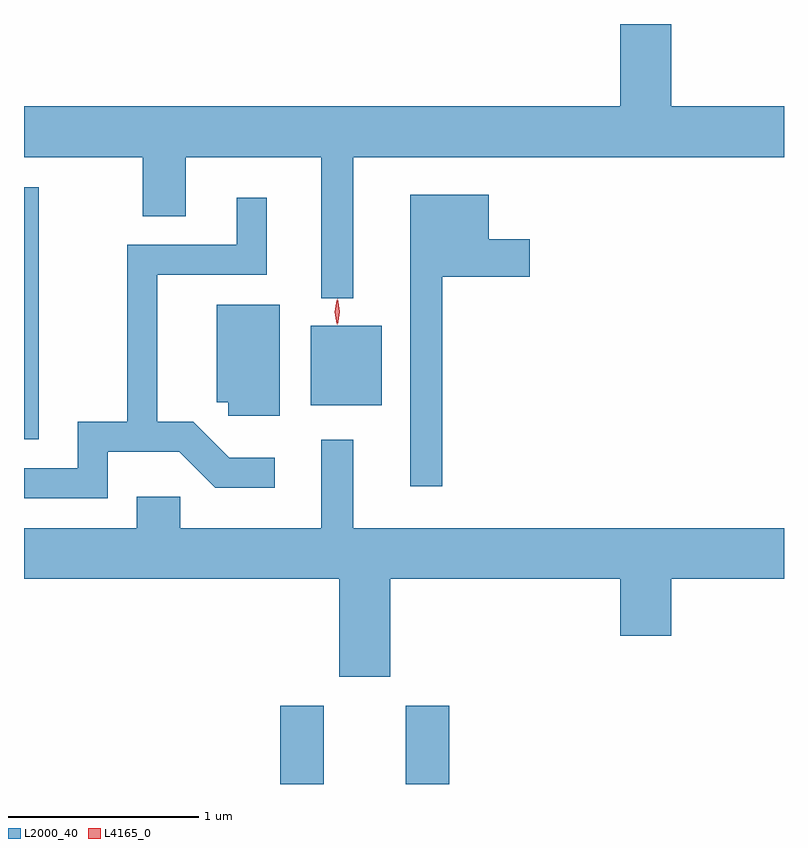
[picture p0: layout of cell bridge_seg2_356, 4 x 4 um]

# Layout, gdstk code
import gdstk
lib = gdstk.Library(unit=1e-6, precision=1e-09)
def R(c, l, rs):  # rectangles x0, y0, x1, y1
    for r in rs: c.add(gdstk.rectangle(r[:2], r[2:], *l))
def P(c, l, *ps):  # polygons
    for p in ps: c.add(gdstk.Polygon(p, *l))
L2000_40 = (2000, 40)
L4165_0 = (4165, 0)

bridge_seg2_356 = lib.new_cell('bridge_seg2_356')
R(bridge_seg2_356, L2000_40, [(433.066,1009.497,433.294,1009.909), (433.726,1009.497,433.954,1009.909), (431.717,1011.311,431.794,1012.639), (433.226,1011.491,433.599,1011.909)])
P(bridge_seg2_356, L2000_40, [(433.449,1012.796),(435.717,1012.796),(435.717,1013.064),(435.124,1013.064),(435.124,1013.497),(434.856,1013.497),(434.856,1013.064),(431.717,1013.064),(431.717,1012.796),(432.341,1012.796),(432.341,1012.486),(432.569,1012.486),(432.569,1012.796),(433.281,1012.796),(433.281,1012.053),(433.449,1012.053)],
  [(433.919,1012.166),(434.379,1012.166),(434.379,1012.364),(434.164,1012.364),(434.164,1012.599),(433.751,1012.599),(433.751,1011.063),(433.919,1011.063)],
  [(432.159,1011.246),(432.534,1011.246),(432.724,1011.056),(433.038,1011.056),(433.038,1011.214),(432.797,1011.214),(432.607,1011.404),(432.419,1011.404),(432.419,1012.176),(432.994,1012.176),(432.994,1012.583),(432.836,1012.583),(432.836,1012.334),(432.261,1012.334),(432.261,1011.404),(432.001,1011.404),(432.001,1011.159),(431.717,1011.159),(431.717,1011.001),(432.159,1011.001)],
  [(433.064,1012.019),(432.731,1012.019),(432.731,1011.506),(432.791,1011.506),(432.791,1011.436),(433.064,1011.436)],
  [(433.644,1010.576),(434.856,1010.576),(434.856,1010.276),(435.124,1010.276),(435.124,1010.576),(435.717,1010.576),(435.717,1010.844),(433.449,1010.844),(433.449,1011.308),(433.281,1011.308),(433.281,1010.844),(432.539,1010.844),(432.539,1011.009),(432.311,1011.009),(432.311,1010.844),(431.717,1010.844),(431.717,1010.576),(433.376,1010.576),(433.376,1010.061),(433.644,1010.061)])
P(bridge_seg2_356, L4165_0, [(433.368,1011.914),(433.358,1011.982),(433.367,1012.05),(433.368,1012.05),(433.368,1012.05),(433.378,1011.982),(433.369,1011.914),(433.369,1011.914)],
  [(433.362,1011.918),(433.353,1011.982),(433.362,1012.047),(433.363,1012.047),(433.363,1012.047),(433.373,1011.982),(433.363,1011.918),(433.363,1011.918)])

lib.write_gds('bridge_seg2_356.gds')
